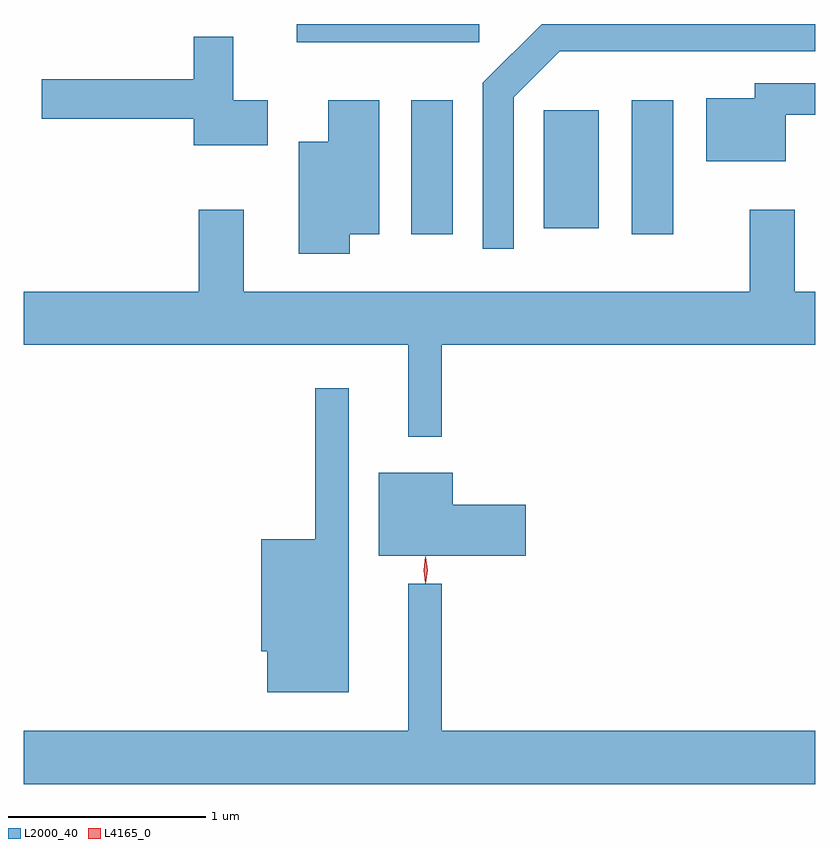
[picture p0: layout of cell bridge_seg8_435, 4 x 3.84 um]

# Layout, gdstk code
import gdstk
lib = gdstk.Library(unit=1e-6, precision=1e-09)
def R(c, l, rs):  # rectangles x0, y0, x1, y1
    for r in rs: c.add(gdstk.rectangle(r[:2], r[2:], *l))
def P(c, l, *ps):  # polygons
    for p in ps: c.add(gdstk.Polygon(p, *l))
L2000_40 = (2000, 40)
L4165_0 = (4165, 0)

bridge_seg8_435 = lib.new_cell('bridge_seg8_435')
R(bridge_seg8_435, L2000_40, [(1009.306,1819.216,1009.514,1819.894), (1010.421,1819.216,1010.629,1819.894), (1009.976,1819.246,1010.254,1819.844), (1008.726,1820.186,1009.649,1820.279)])
P(bridge_seg8_435, L2000_40, [(1009.824,1819.909),(1010.057,1820.141),(1011.347,1820.141),(1011.347,1820.279),(1009.964,1820.279),(1009.666,1819.982),(1009.666,1819.143),(1009.824,1819.143)],
  [(1008.579,1819.894),(1008.404,1819.894),(1008.404,1820.214),(1008.206,1820.214),(1008.206,1819.999),(1007.436,1819.999),(1007.436,1819.801),(1008.206,1819.801),(1008.206,1819.666),(1008.579,1819.666)],
  [(1011.199,1819.821),(1011.347,1819.821),(1011.347,1819.979),(1011.041,1819.979),(1011.041,1819.904),(1010.796,1819.904),(1010.796,1819.586),(1011.199,1819.586)],
  [(1008.994,1819.216),(1009.144,1819.216),(1009.144,1819.894),(1008.886,1819.894),(1008.886,1819.684),(1008.736,1819.684),(1008.736,1819.116),(1008.994,1819.116)],
  [(1009.459,1818.656),(1011.347,1818.656),(1011.347,1818.924),(1011.244,1818.924),(1011.244,1819.339),(1011.016,1819.339),(1011.016,1818.924),(1008.459,1818.924),(1008.459,1819.339),(1008.231,1819.339),(1008.231,1818.924),(1007.347,1818.924),(1007.347,1818.656),(1009.291,1818.656),(1009.291,1818.193),(1009.459,1818.193)],
  [(1008.989,1818.438),(1008.821,1818.438),(1008.821,1817.674),(1008.546,1817.674),(1008.546,1817.106),(1008.576,1817.106),(1008.576,1816.901),(1008.989,1816.901)],
  [(1009.884,1817.849),(1009.514,1817.849),(1009.514,1818.009),(1009.141,1818.009),(1009.141,1817.591),(1009.884,1817.591)],
  [(1011.347,1816.704),(1009.459,1816.704),(1009.459,1817.448),(1009.291,1817.448),(1009.291,1816.704),(1007.347,1816.704),(1007.347,1816.436),(1011.347,1816.436)])
P(bridge_seg8_435, L4165_0, [(1009.377,1817.45),(1009.368,1817.518),(1009.377,1817.586),(1009.378,1817.586),(1009.378,1817.586),(1009.388,1817.518),(1009.378,1817.45),(1009.378,1817.45)],
  [(1009.377,1817.453),(1009.368,1817.516),(1009.377,1817.579),(1009.378,1817.58),(1009.378,1817.579),(1009.388,1817.516),(1009.378,1817.453),(1009.378,1817.453)])

lib.write_gds('bridge_seg8_435.gds')
